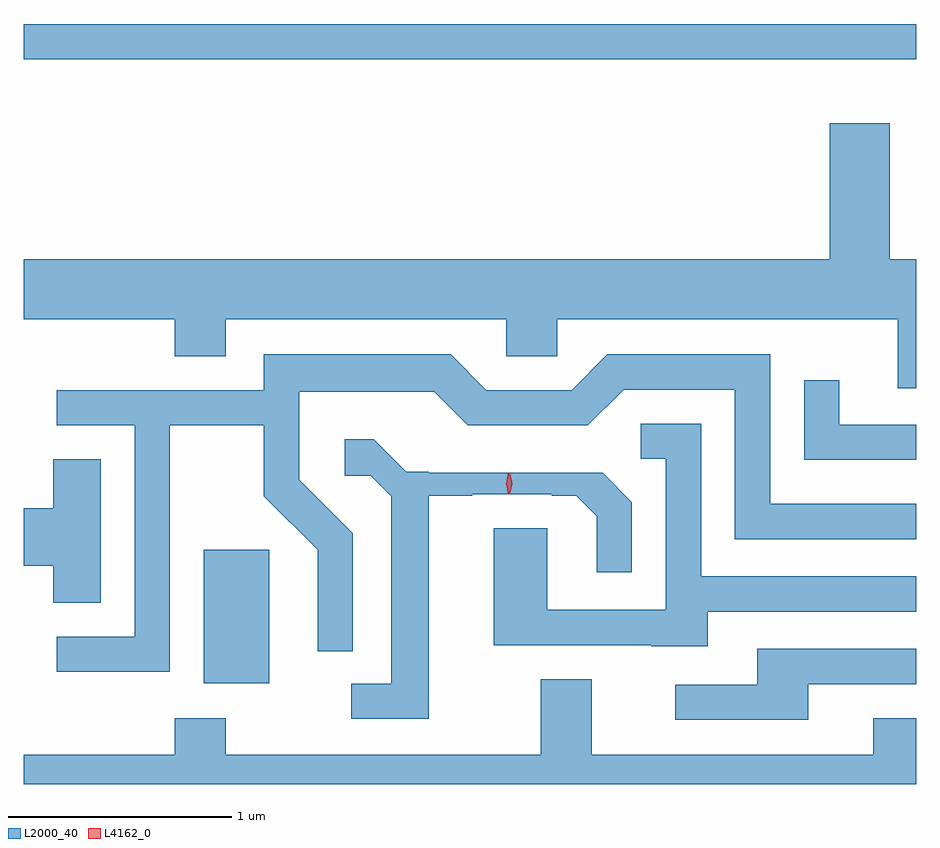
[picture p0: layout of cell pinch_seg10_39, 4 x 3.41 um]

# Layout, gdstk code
import gdstk
lib = gdstk.Library(unit=1e-6, precision=1e-09)
def R(c, l, rs):  # rectangles x0, y0, x1, y1
    for r in rs: c.add(gdstk.rectangle(r[:2], r[2:], *l))
def P(c, l, *ps):  # polygons
    for p in ps: c.add(gdstk.Polygon(p, *l))
L2000_40 = (2000, 40)
L4162_0 = (4162, 0)

pinch_seg10_39 = lib.new_cell('pinch_seg10_39')
R(pinch_seg10_39, L2000_40, [(591.891,2187.766,592.184,2188.364), (591.084,2190.561,595.084,2190.719)])
P(pinch_seg10_39, L2000_40, [(595.084,2189.664),(594.964,2189.664),(594.964,2190.274),(594.696,2190.274),(594.696,2189.664),(591.084,2189.664),(591.084,2189.396),(591.761,2189.396),(591.761,2189.231),(591.989,2189.231),(591.989,2189.396),(593.246,2189.396),(593.246,2189.231),(593.474,2189.231),(593.474,2189.396),(595.001,2189.396),(595.001,2189.086),(595.084,2189.086)],
  [(591.739,2188.921),(592.161,2188.921),(592.161,2188.604),(592.401,2188.364),(592.401,2187.908),(592.559,2187.908),(592.559,2188.437),(592.319,2188.677),(592.319,2189.071),(592.924,2189.071),(593.074,2188.921),(593.612,2188.921),(593.772,2189.081),(594.271,2189.081),(594.271,2188.411),(595.084,2188.411),(595.084,2188.569),(594.429,2188.569),(594.429,2189.239),(593.699,2189.239),(593.539,2189.079),(593.157,2189.079),(592.997,2189.239),(592.161,2189.239),(592.161,2189.079),(591.233,2189.079),(591.233,2188.921),(591.581,2188.921),(591.581,2187.974),(591.233,2187.974),(591.233,2187.816),(591.739,2187.816)],
  [(595.084,2188.924),(594.739,2188.924),(594.739,2189.123),(594.581,2189.123),(594.581,2188.766),(595.084,2188.766)],
  [(594.149,2188.086),(595.084,2188.086),(595.084,2188.244),(594.119,2188.244),(594.119,2188.929),(593.848,2188.929),(593.848,2188.771),(593.961,2188.771),(593.961,2188.094),(593.429,2188.094),(593.429,2188.459),(593.191,2188.459),(593.191,2187.936),(593.895,2187.936),(593.895,2187.931),(594.149,2187.931)],
  [(592.899,2188.605),(593.095,2188.605),(593.095,2188.612),(593.45,2188.612),(593.45,2188.605),(593.561,2188.605),(593.651,2188.514),(593.651,2188.263),(593.809,2188.263),(593.809,2188.577),(593.678,2188.708),(592.9,2188.708),(592.9,2188.713),(592.798,2188.713),(592.653,2188.858),(592.523,2188.858),(592.523,2188.695),(592.64,2188.695),(592.731,2188.604),(592.731,2187.764),(592.553,2187.764),(592.553,2187.606),(592.899,2187.606)],
  [(591.429,2188.769),(591.216,2188.769),(591.216,2188.549),(591.084,2188.549),(591.084,2188.291),(591.216,2188.291),(591.216,2188.126),(591.429,2188.126)],
  [(594.599,2187.761),(595.084,2187.761),(595.084,2187.919),(594.371,2187.919),(594.371,2187.759),(594.003,2187.759),(594.003,2187.601),(594.599,2187.601)],
  [(595.084,2187.609),(594.891,2187.609),(594.891,2187.444),(593.629,2187.444),(593.629,2187.784),(593.401,2187.784),(593.401,2187.444),(591.989,2187.444),(591.989,2187.609),(591.761,2187.609),(591.761,2187.444),(591.084,2187.444),(591.084,2187.314),(595.084,2187.314)])
P(pinch_seg10_39, L4162_0, [(593.263,2188.618),(593.254,2188.66),(593.264,2188.701),(593.264,2188.702),(593.264,2188.701),(593.274,2188.66),(593.264,2188.618),(593.264,2188.618)],
  [(593.256,2188.612),(593.256,2188.612),(593.246,2188.66),(593.256,2188.708),(593.256,2188.708),(593.257,2188.708),(593.266,2188.66),(593.257,2188.612)])

lib.write_gds('pinch_seg10_39.gds')
